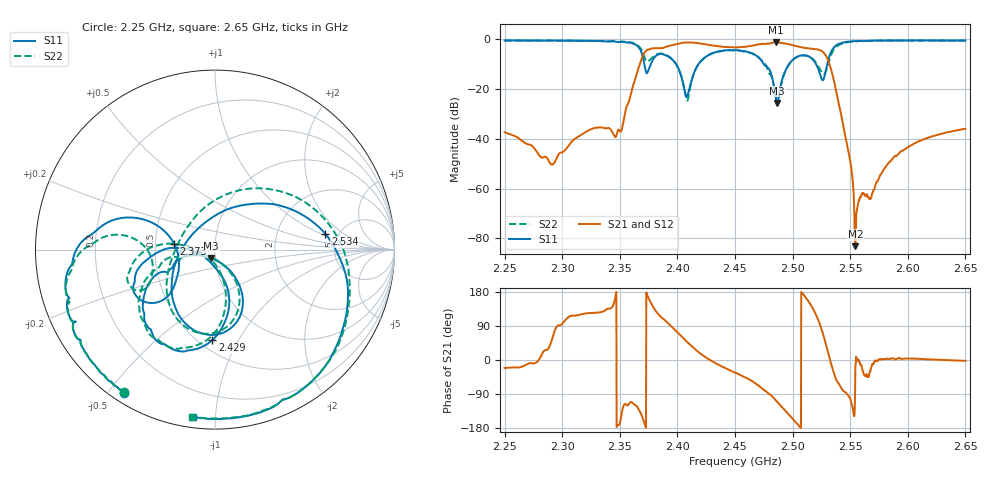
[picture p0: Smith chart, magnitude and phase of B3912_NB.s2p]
! Matrix data file written by TouchstoneData, EPCOS AG
! FILENAME: "LU60B1_1_NB.s2p_newformat"
! COMMENT: "(LU60B1_1_NB.s2p) EPCOS AG 11.03.2011 15:22:"
! INFO: nport=2, nfreq=1601
! DATE: "Mon Mar 14 16:58:02 2011"
! USER: "Sergey Rostovtsev"
! port | pin | signal
!  1  |  2  |  in
!  2  |  5  |  out
# MHZ S MA R 50
! freq  magS11 angS11  magS21 angS21  magS12 angS12  magS22 angS22
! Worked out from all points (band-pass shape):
!   1601 points, 2.25 GHz to 2.65 GHz, reference 50 ohm
!   highest |S21| = -1.28 dB at 2.486 GHz (marker M1); lowest = -83.1 dB at 2.554 GHz (marker M2)
!   |S21| within 3 dB of the highest: 2.374 GHz to 2.523 GHz (149.2 MHz wide, 6.09 % of centre)
!   lowest |S11| = -25.6 dB at 2.486 GHz (marker M3), VSWR 1.11, Z = 47.7 - j4.56 ohm
!   |S11| at or under -10 dB: 2.399 GHz to 2.418 GHz (19.3 MHz wide, 0.801 % of centre); 2.475 GHz to 2.497 GHz (22.03 MHz wide, 0.886 % of centre); 2.520323 GHz to 2.530007 GHz (9.684 MHz wide, 0.384 % of centre) (the widest 3 of 4)
!   |S22| runs from -26.5 to -0.5 dB; largest |S21 - S12| = 0.0021
!   S11 on the Smith chart (normalised r, x): 2.25 GHz: 0.04, -0.55; 2.373 GHz: 0.63, +0.04; 2.429 GHz: 0.58, -0.79; 2.534 GHz: 3.93, +1.12; 2.65 GHz: 0.05, -0.88
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2250  0.9434 -122.3  0.01349 -21.1  0.01349 -21.0  0.9423 -122.7
2291.25  0.9403 -129.2  0.003031 56.0  0.003036 56.4  0.9377 -129.5
2316.75  0.9287 -135.9  0.01212 120.6  0.01215 120.8  0.9302 -136.0
2350.75  0.892 -154.5  0.01384 -156.6  0.01383 -156.7  0.8884 -152.7
2363.75  0.7813 -178.6  0.1678 -119.7  0.1678 -119.6  0.8028 -172.7
2372.5  0.2299 172.0  0.5788 -177.2  0.5787 -177.2  0.3767 -179.5
2383.5  0.4958 -144.8  0.6601 120.7  0.6598 120.7  0.5113 -155.5
2398  0.3397 -175.5  0.7854 78.9  0.786 79.0  0.3356 176.6
2408.5  0.07124 -118.3  0.8613 47.4  0.8619 47.5  0.05858 -129.9
2428.75  0.5043 -91.6  0.758 -0.9  0.7588 -0.8  0.5042 -94.9
2450  0.6027 -119.1  0.6829 -33.3  0.6829 -33.3  0.5972 -123.0
2475  0.3132 -156.8  0.806 -79.1  0.8054 -79.1  0.3336 -162.0
2485.5  0.0655 -144.7  0.8632 -106.8  0.8638 -106.8  0.06285 -150.7
2486.5  0.05233 -114.2  0.8617 -110.2  0.8627 -110.2  0.04743 -119.8
2498.5  0.3519 -64.0  0.7765 -149.8  0.7762 -149.8  0.348 -67.7
2516.75  0.4091 -120.6  0.645 140.5  0.6454 140.5  0.4142 -125.9
2526.25  0.1499 132.5  0.5561 70.4  0.5557 70.5  0.2023 163.0
2534.5  0.6209 8.1  0.199 -21.4  0.1992 -21.3  0.5524 30.4
2549.5  0.9027 -49.7  0.004078 -99.1  0.004066 -99.1  0.8846 -43.0
2554.5  0.9181 -57.8  6.971e-05 -17.4  8.44e-05 -41.6  0.908 -52.6
2583.5  0.9436 -80.1  0.00331 2.9  0.003278 3.2  0.9413 -78.6
2650  0.9412 -97.4  0.01585 -2.2  0.01584 -2.3  0.9385 -97.7
